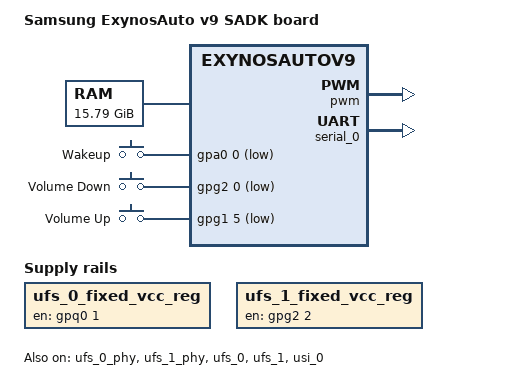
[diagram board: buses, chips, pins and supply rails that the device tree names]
// SPDX-License-Identifier: GPL-2.0
/*
 * Samsung ExynosAutov9 SADK board device tree source
 *
 * Copyright (c) 2021 Samsung Electronics Co., Ltd.
 *
 */

/dts-v1/;
#include "exynosautov9.dtsi"
#include <dt-bindings/gpio/gpio.h>
#include <dt-bindings/input/input.h>

/ {
	model = "Samsung ExynosAuto v9 SADK board";
	compatible = "samsung,exynosautov9-sadk", "samsung,exynosautov9";

	#address-cells = <2>;
	#size-cells = <2>;

	aliases {
		serial0 = &serial_0;
	};

	chosen {
		stdout-path = &serial_0;
	};

	memory@80000000 {
		device_type = "memory";
		reg = <0x0 0x80000000 0x0 0x77000000>,
		      <0x8 0x80000000 0x1 0x7ba00000>,
		      <0xa 0x00000000 0x2 0x00000000>;
	};

	gpio-keys {
		compatible = "gpio-keys";
		pinctrl-names = "default";
		pinctrl-0 = <&key_wakeup &key_volup &key_voldown>;

		key-wakeup {
			label = "Wakeup";
			linux,code = <KEY_WAKEUP>;
			gpios = <&gpa0 0 GPIO_ACTIVE_LOW>;
			wakeup-source;
		};

		key-volume-down {
			label = "Volume Down";
			linux,code = <KEY_VOLUMEDOWN>;
			gpios = <&gpg2 0 GPIO_ACTIVE_LOW>;
		};

		key-volume-up {
			label = "Volume Up";
			linux,code = <KEY_VOLUMEUP>;
			gpios = <&gpg1 5 GPIO_ACTIVE_LOW>;
		};
	};

	ufs_0_fixed_vcc_reg: regulator-0 {
		compatible = "regulator-fixed";
		regulator-name = "ufs-vcc";
		gpio = <&gpq0 1 GPIO_ACTIVE_HIGH>;
		regulator-boot-on;
		enable-active-high;
	};

	ufs_1_fixed_vcc_reg: regulator-1 {
		compatible = "regulator-fixed";
		regulator-name = "ufs-vcc";
		gpio = <&gpg2 2 GPIO_ACTIVE_HIGH>;
		regulator-boot-on;
		enable-active-high;
	};
};

&pinctrl_alive {
	key_wakeup: key-wakeup-pins {
		samsung,pins = "gpa0-0";
		samsung,pin-function = <EXYNOS_PIN_FUNC_EINT>;
		samsung,pin-pud = <EXYNOS_PIN_PULL_NONE>;
		samsung,pin-drv = <EXYNOS5420_PIN_DRV_LV1>;
	};
};

&pinctrl_peric1 {
	key_voldown: key-voldown-pins {
		samsung,pins = "gpg2-0";
		samsung,pin-function = <EXYNOS_PIN_FUNC_EINT>;
		samsung,pin-pud = <EXYNOS_PIN_PULL_NONE>;
		samsung,pin-drv = <EXYNOS5420_PIN_DRV_LV1>;
	};

	key_volup: key-volup-pins {
		samsung,pins = "gpg1-5";
		samsung,pin-function = <EXYNOS_PIN_FUNC_EINT>;
		samsung,pin-pud = <EXYNOS_PIN_PULL_NONE>;
		samsung,pin-drv = <EXYNOS5420_PIN_DRV_LV1>;
	};
};

&pwm {
	pinctrl-names = "default";
	pinctrl-0 = <&pwm_tout3>;
	status = "okay";
};

&serial_0 {
	pinctrl-0 = <&uart0_bus_dual>;
	status = "okay";
};

&ufs_0_phy {
	status = "okay";
};

&ufs_1_phy {
	status = "okay";
};

&ufs_0 {
	status = "okay";
	vcc-supply = <&ufs_0_fixed_vcc_reg>;
};

&ufs_1 {
	status = "okay";
	vcc-supply = <&ufs_1_fixed_vcc_reg>;
};

&usi_0 {
	samsung,clkreq-on; /* needed for UART mode */
	status = "okay";
};

&xtcxo {
	clock-frequency = <26000000>;
};
